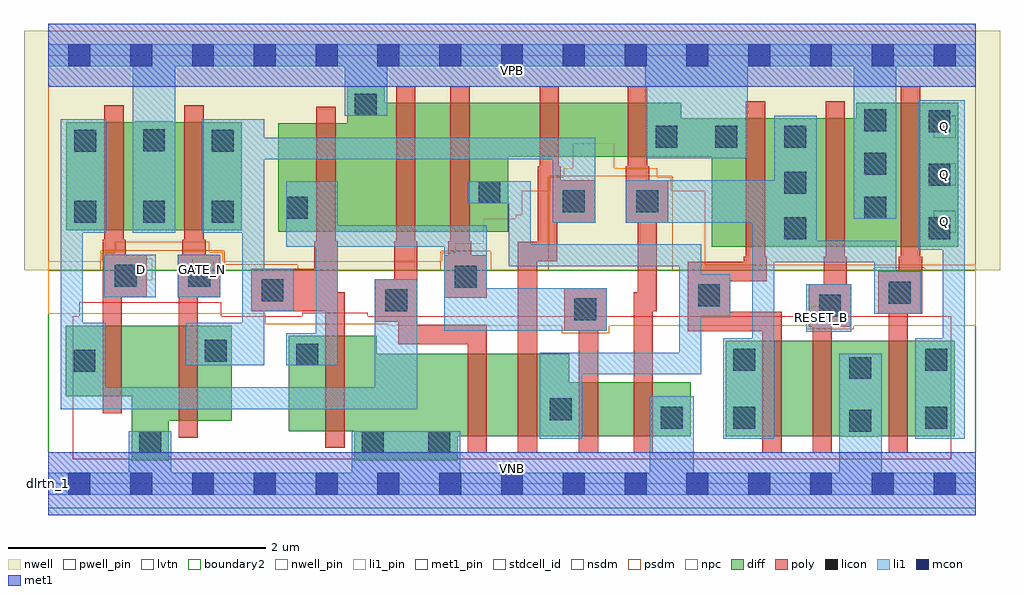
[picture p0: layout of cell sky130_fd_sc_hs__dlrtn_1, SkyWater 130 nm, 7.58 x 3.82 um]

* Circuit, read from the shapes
.subckt sky130_fd_sc_hs__dlrtn_1 D GATE_N Q RESET_B VGND VNB VPB VPWR
XM1 VGND D n1 VNB sky130_fd_pr__nfet_01v8_lvt w=0.55 l=0.15
XM2 n2 GATE_N VGND VNB sky130_fd_pr__nfet_01v8_lvt w=0.74 l=0.15
XM3 VGND n2 n3 VNB sky130_fd_pr__nfet_01v8_lvt w=0.74 l=0.15
XM4 n4 n1 VGND VNB sky130_fd_pr__nfet_01v8_lvt w=0.64 l=0.15
XM5 n5 n2 n4 VNB sky130_fd_pr__nfet_01v8_lvt w=0.64 l=0.15
XM6 n6 n3 n5 VNB sky130_fd_pr__nfet_01v8_lvt w=0.42 l=0.15
XM7 VGND n7 n6 VNB sky130_fd_pr__nfet_01v8_lvt w=0.42 l=0.15
XM8 n8 n5 n7 VNB sky130_fd_pr__nfet_01v8_lvt w=0.74 l=0.15
XM9 VGND RESET_B n8 VNB sky130_fd_pr__nfet_01v8_lvt w=0.74 l=0.15
XM10 Q n7 VGND VNB sky130_fd_pr__nfet_01v8_lvt w=0.74 l=0.15
XM11 VPWR D n1 VPB sky130_fd_pr__pfet_01v8 w=0.84 l=0.15
XM12 n2 GATE_N VPWR VPB sky130_fd_pr__pfet_01v8 w=0.84 l=0.15
XM13 VPWR n2 n3 VPB sky130_fd_pr__pfet_01v8 w=0.84 l=0.15
XM14 n9 n1 VPWR VPB sky130_fd_pr__pfet_01v8 w=1 l=0.15
XM15 n5 n3 n9 VPB sky130_fd_pr__pfet_01v8 w=1 l=0.15
XM16 n10 n2 n5 VPB sky130_fd_pr__pfet_01v8 w=0.42 l=0.15
XM17 VPWR n7 n10 VPB sky130_fd_pr__pfet_01v8 w=0.42 l=0.15
XM18 n7 n5 VPWR VPB sky130_fd_pr__pfet_01v8 w=1 l=0.15
XM19 VPWR RESET_B n7 VPB sky130_fd_pr__pfet_01v8 w=1 l=0.15
XM20 Q n7 VPWR VPB sky130_fd_pr__pfet_01v8 w=1.12 l=0.15
.ends

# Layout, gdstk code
import gdstk
lib = gdstk.Library(unit=1e-6, precision=1e-09)
def R(c, l, rs):  # rectangles x0, y0, x1, y1
    for r in rs: c.add(gdstk.rectangle(r[:2], r[2:], *l))
def A(c, l, x, y, w, h, nx, ny, dx, dy):  # array of equal rectangles
    R(c, l, [(x+i*dx, y+j*dy, x+i*dx+w, y+j*dy+h) for i in range(nx) for j in range(ny)])
def P(c, l, *ps):  # polygons
    for p in ps: c.add(gdstk.Polygon(p, *l))
nwell_pin = (64, 16)
nwell = (64, 20)
diff = (65, 20)
poly = (66, 20)
licon = (66, 44)
li1_pin = (67, 16)
li1 = (67, 20)
mcon = (67, 44)
met1_pin = (68, 16)
met1 = (68, 20)
stdcell_id = (81, 4)
nsdm = (93, 44)
psdm = (94, 20)
npc = (95, 20)
pwell_pin = (122, 16)
lvtn = (125, 44)
boundary2 = (236, 0)

sky130_fd_sc_hs__dlrtn_1 = lib.new_cell('sky130_fd_sc_hs__dlrtn_1')
R(sky130_fd_sc_hs__dlrtn_1, nwell_pin, [(0,3.085,7.2,3.33)])
R(sky130_fd_sc_hs__dlrtn_1, nwell, [(-0.19,1.66,7.39,3.52)])
P(sky130_fd_sc_hs__dlrtn_1, diff, [(1.5,2.81),(0.965,2.81),(0.965,2.815),(0.675,2.815),(0.675,2.81),(0.14,2.81),(0.14,1.97),(1.5,1.97)],
  [(1.425,1.23),(0.135,1.23),(0.135,0.68),(0.645,0.68),(0.645,0.18),(0.935,0.18),(0.935,0.49),(1.425,0.49)],
  [(4.99,0.79),(4.045,0.79),(4.045,1.01),(2.55,1.01),(2.55,1.15),(1.865,1.15),(1.865,0.41),(2.375,0.41),(2.375,0.18),(3.18,0.18),(3.18,0.37),(4.99,0.37)],
  [(7.04,1.11),(5.26,1.11),(5.26,0.37),(6.16,0.37),(6.16,0.365),(6.45,0.365),(6.45,0.37),(7.04,0.37)],
  [(7.065,2.96),(6.275,2.96),(6.275,2.84),(4.915,2.84),(4.915,2.96),(2.61,2.96),(2.61,3.09),(2.32,3.09),(2.32,2.8),(1.785,2.8),(1.785,1.96),(3.57,1.96),(3.57,2.54),(5.15,2.54),(5.15,1.84),(7.065,1.84)])
P(sky130_fd_sc_hs__dlrtn_1, poly, [(6.785,1.765),(6.77,1.765),(6.77,3.09),(6.62,3.09),(6.62,1.765),(6.605,1.765),(6.605,1.65),(6.445,1.65),(6.445,1.32),(6.525,1.32),(6.525,0.24),(6.675,0.24),(6.675,1.32),(6.785,1.32)],
  [(6.235,1.55),(6.2,1.55),(6.2,1.765),(6.185,1.765),(6.185,2.97),(6.035,2.97),(6.035,1.765),(6.02,1.765),(6.02,1.55),(5.905,1.55),(5.905,1.22),(5.935,1.22),(5.935,0.24),(6.085,0.24),(6.085,1.22),(6.235,1.22)],
  [(5.695,1.335),(5.295,1.335),(5.295,1.575),(5.58,1.575),(5.58,1.765),(5.565,1.765),(5.565,2.97),(5.415,2.97),(5.415,1.765),(5.4,1.765),(5.4,1.725),(4.965,1.725),(4.965,1.185),(5.545,1.185),(5.545,0.24),(5.695,0.24)],
  [(4.815,2.36),(4.665,2.36),(4.665,2.465),(4.65,2.465),(4.65,3.09),(4.5,3.09),(4.5,2.465),(4.485,2.465),(4.485,2.03),(4.575,2.03),(4.575,1.49),(4.545,1.49),(4.545,0.24),(4.695,0.24),(4.695,1.34),(4.725,1.34),(4.725,2.03),(4.815,2.03)],
  [(4.335,1.52),(4.005,1.52),(4.005,1.19),(4.12,1.19),(4.12,0.24),(4.27,0.24),(4.27,1.19),(4.335,1.19)],
  [(4.245,2.36),(3.98,2.36),(3.98,2.465),(3.965,2.465),(3.965,3.09),(3.815,3.09),(3.815,2.465),(3.8,2.465),(3.8,1.88),(3.645,1.88),(3.645,0.24),(3.795,0.24),(3.795,1.73),(3.95,1.73),(3.95,2.03),(4.245,2.03)],
  [(3.405,1.235),(2.865,1.235),(2.865,1.885),(2.85,1.885),(2.85,3.09),(2.7,3.09),(2.7,1.885),(2.685,1.885),(2.685,1.59),(2.535,1.59),(2.535,1.26),(2.715,1.26),(2.715,1.085),(3.255,1.085),(3.255,0.24),(3.405,0.24)],
  [(3.405,1.775),(3.285,1.775),(3.285,1.885),(3.27,1.885),(3.27,3.09),(3.12,3.09),(3.12,1.885),(3.105,1.885),(3.105,1.775),(3.075,1.775),(3.075,1.445),(3.405,1.445)],
  [(2.3,1.49),(2.245,1.49),(2.245,1.885),(2.23,1.885),(2.23,2.93),(2.08,2.93),(2.08,1.885),(2.065,1.885),(2.065,1.67),(1.575,1.67),(1.575,1.34),(2.15,1.34),(2.15,0.28),(2.3,0.28)],
  [(1.335,1.78),(1.22,1.78),(1.22,1.895),(1.205,1.895),(1.205,2.94),(1.055,2.94),(1.055,1.895),(1.04,1.895),(1.04,1.78),(1.005,1.78),(1.005,1.45),(1.01,1.45),(1.01,0.36),(1.16,0.36),(1.16,1.45),(1.335,1.45)],
  [(0.765,1.78),(0.6,1.78),(0.6,1.895),(0.585,1.895),(0.585,2.94),(0.435,2.94),(0.435,1.895),(0.42,1.895),(0.42,0.55),(0.57,0.55),(0.57,1.45),(0.765,1.45)])
A(sky130_fd_sc_hs__dlrtn_1, licon, 5.715, 1.9, 0.17, 0.17, 1, 3, 0, 0.355)
A(sky130_fd_sc_hs__dlrtn_1, licon, 6.835, 1.9, 0.17, 0.17, 1, 3, 0, 0.415)
A(sky130_fd_sc_hs__dlrtn_1, licon, 0.2, 2.03, 0.17, 0.17, 3, 1, 0.535, 0)
A(sky130_fd_sc_hs__dlrtn_1, licon, 6.335, 2.06, 0.17, 0.17, 1, 3, 0, 0.34)
R(sky130_fd_sc_hs__dlrtn_1, licon, [(0.705,0.24,0.875,0.41), (2.435,0.24,2.605,0.41), (2.95,0.24,3.12,0.41), (6.22,0.405,6.39,0.575), (4.755,0.43,4.925,0.6), (5.32,0.43,5.49,0.6), (6.81,0.43,6.98,0.6), (3.895,0.495,4.065,0.665), (6.22,0.815,6.39,0.985), (0.195,0.87,0.365,1.04), (5.32,0.88,5.49,1.05), (6.81,0.88,6.98,1.05), (1.925,0.92,2.095,1.09), (1.215,0.95,1.385,1.12), (4.085,1.27,4.255,1.44), (5.985,1.3,6.155,1.47), (2.615,1.34,2.785,1.51), (5.045,1.38,5.215,1.55), (6.525,1.4,6.695,1.57), (1.655,1.42,1.825,1.59), (3.155,1.525,3.325,1.695), (0.515,1.53,0.685,1.7), (1.085,1.53,1.255,1.7), (1.845,2.06,2.015,2.23), (3.995,2.11,4.165,2.28), (4.565,2.11,4.735,2.28), (3.34,2.18,3.51,2.35), (0.2,2.58,0.37,2.75), (1.27,2.58,1.44,2.75), (0.735,2.585,0.905,2.755), (4.715,2.61,4.885,2.78), (5.18,2.61,5.35,2.78), (2.38,2.86,2.55,3.03)])
A(sky130_fd_sc_hs__dlrtn_1, li1_pin, 6.875, 1.95, 0.17, 0.17, 1, 3, 0, 0.37)
R(sky130_fd_sc_hs__dlrtn_1, li1_pin, [(5.915,1.21,6.085,1.38), (0.635,1.58,0.805,1.75), (1.115,1.58,1.285,1.75)])
R(sky130_fd_sc_hs__dlrtn_1, li1, [(5.885,1.18,6.235,1.55), (0.435,1.45,0.835,1.78), (1.005,1.45,1.335,1.78)])
P(sky130_fd_sc_hs__dlrtn_1, li1, [(2.3,2.86),(2.3,3.245),(0.985,3.245),(0.985,1.95),(0.655,1.95),(0.655,3.245),(0,3.245),(0,3.415),(7.2,3.415),(7.2,3.245),(6.585,3.245),(6.585,2.06),(6.255,2.06),(6.255,3.245),(5.43,3.245),(5.43,2.53),(4.635,2.53),(4.635,3.245),(2.63,3.245),(2.63,2.86)],
  [(0.625,0.085),(0.625,0.41),(0.955,0.41),(0.955,0.085),(2.355,0.085),(2.355,0.41),(3.2,0.41),(3.2,0.085),(4.67,0.085),(4.67,0.68),(5.01,0.68),(5.01,0.085),(6.14,0.085),(6.14,1.01),(6.47,1.01),(6.47,0.085),(7.2,0.085),(7.2,-0.085),(0,-0.085),(0,0.085)],
  [(1.675,2.69),(4.245,2.69),(4.245,2.03),(3.915,2.03),(3.915,2.52),(1.675,2.52),(1.675,1.67),(1.905,1.67),(1.905,1.34),(1.675,1.34),(1.675,0.92),(1.065,0.92),(1.065,1.25),(1.505,1.25),(1.505,1.95),(1.19,1.95),(1.19,2.83),(1.675,2.83)],
  [(2.245,2.01),(3.405,2.01),(3.405,1.52),(4.335,1.52),(4.335,1.19),(3.075,1.19),(3.075,1.84),(2.245,1.84),(2.245,0.92),(1.845,0.92),(1.845,1.17),(2.075,1.17),(2.075,1.84),(1.845,1.84),(1.845,2.35),(2.245,2.35)],
  [(3.575,1.69),(3.575,2.18),(3.255,2.18),(3.255,2.35),(3.745,2.35),(3.745,1.86),(5.07,1.86),(5.07,1.63),(5.295,1.63),(5.295,1.3),(5.07,1.3),(5.07,0.85),(4.145,0.85),(4.145,0.35),(3.815,0.35),(3.815,1.02),(4.9,1.02),(4.9,1.69)],
  [(0.445,0.75),(2.535,0.75),(2.535,1.59),(2.865,1.59),(2.865,0.58),(0.095,0.58),(0.095,2.83),(0.45,2.83),(0.45,1.95),(0.265,1.95),(0.265,1.25),(0.445,1.25)],
  [(5.465,1.13),(5.465,2.03),(4.485,2.03),(4.485,2.36),(5.635,2.36),(5.635,2.86),(5.965,2.86),(5.965,1.89),(6.585,1.89),(6.585,1.65),(6.775,1.65),(6.775,1.32),(6.415,1.32),(6.415,1.72),(5.635,1.72),(5.635,0.35),(5.24,0.35),(5.24,1.13)],
  [(6.755,1.82),(6.755,2.98),(7.115,2.98),(7.115,0.35),(6.73,0.35),(6.73,1.13),(6.945,1.13),(6.945,1.82)])
A(sky130_fd_sc_hs__dlrtn_1, mcon, 0.155, -0.085, 0.17, 0.17, 15, 2, 0.48, 3.33)
R(sky130_fd_sc_hs__dlrtn_1, met1_pin, [(0,0,7.2,0.245), (0,3.085,7.2,3.33)])
R(sky130_fd_sc_hs__dlrtn_1, met1, [(0,-0.245,7.2,0.245), (0,3.085,7.2,3.575)])
R(sky130_fd_sc_hs__dlrtn_1, stdcell_id, [(0,0,7.2,3.33)])
R(sky130_fd_sc_hs__dlrtn_1, nsdm, [(0,-0.19,7.2,1.66)])
P(sky130_fd_sc_hs__dlrtn_1, psdm, [(7.2,3.52),(0,3.52),(0,1.66),(0.405,1.66),(0.405,1.81),(1.365,1.81),(1.365,1.7),(1.935,1.7),(1.935,1.66),(3.045,1.66),(3.045,1.805),(3.435,1.805),(3.435,1.66),(3.885,1.66),(3.885,2.39),(4.845,2.39),(4.845,1.66),(6.415,1.66),(6.415,1.68),(6.805,1.68),(6.805,1.66),(7.2,1.66)])
P(sky130_fd_sc_hs__dlrtn_1, npc, [(7.2,1.7),(5.1,1.7),(5.1,2.275),(4.835,2.275),(4.835,2.38),(4.73,2.38),(4.73,2.45),(4.395,2.45),(4.395,2.645),(4.07,2.645),(4.07,2.45),(4,2.45),(4,2.38),(3.895,2.38),(3.895,2.275),(3.675,2.275),(3.675,2.09),(3.63,2.09),(3.63,2.06),(3.375,2.06),(3.375,1.87),(3.16,1.87),(3.16,1.795),(3.055,1.795),(3.055,1.73),(1.355,1.73),(1.355,1.8),(1.25,1.8),(1.25,1.88),(0.52,1.88),(0.52,1.8),(0.415,1.8),(0.415,1.73),(0,1.73),(0,1.32),(1.685,1.32),(1.685,1.24),(2.64,1.24),(2.64,1.23),(3.985,1.23),(3.985,1.17),(4.355,1.17),(4.355,1.23),(5.885,1.23),(5.885,1.2),(6.255,1.2),(6.255,1.23),(7.2,1.23)])
R(sky130_fd_sc_hs__dlrtn_1, pwell_pin, [(0,0,7.2,0.245)])
P(sky130_fd_sc_hs__dlrtn_1, lvtn, [(7.01,1.3),(2.48,1.3),(2.48,1.33),(1.97,1.33),(1.97,1.3),(1.34,1.3),(1.34,1.41),(0.24,1.41),(0.24,1.3),(0.19,1.3),(0.19,0.19),(7.01,0.19)])
R(sky130_fd_sc_hs__dlrtn_1, boundary2, [(0,0,7.2,3.33)])
sky130_fd_sc_hs__dlrtn_1.add(gdstk.Label('dlrtn_1', (0,0), layer=83, texttype=44))
sky130_fd_sc_hs__dlrtn_1.add(gdstk.Label('VNB', (3.6,0.123), layer=64, texttype=59))
sky130_fd_sc_hs__dlrtn_1.add(gdstk.Label('VPB', (3.6,3.208), layer=64, texttype=5))
sky130_fd_sc_hs__dlrtn_1.add(gdstk.Label('VPWR', (3.6,3.208), layer=68, texttype=5))
sky130_fd_sc_hs__dlrtn_1.add(gdstk.Label('VGND', (3.6,0.123), layer=68, texttype=5))
sky130_fd_sc_hs__dlrtn_1.add(gdstk.Label('D', (0.72,1.665), layer=67, texttype=5))
sky130_fd_sc_hs__dlrtn_1.add(gdstk.Label('GATE_N', (1.2,1.665), layer=67, texttype=5))
sky130_fd_sc_hs__dlrtn_1.add(gdstk.Label('RESET_B', (6,1.295), layer=67, texttype=5))
sky130_fd_sc_hs__dlrtn_1.add(gdstk.Label('Q', (6.96,2.035), layer=67, texttype=5))
sky130_fd_sc_hs__dlrtn_1.add(gdstk.Label('Q', (6.96,2.405), layer=67, texttype=5))
sky130_fd_sc_hs__dlrtn_1.add(gdstk.Label('Q', (6.96,2.775), layer=67, texttype=5))

lib.write_gds('sky130_fd_sc_hs__dlrtn_1.gds')
